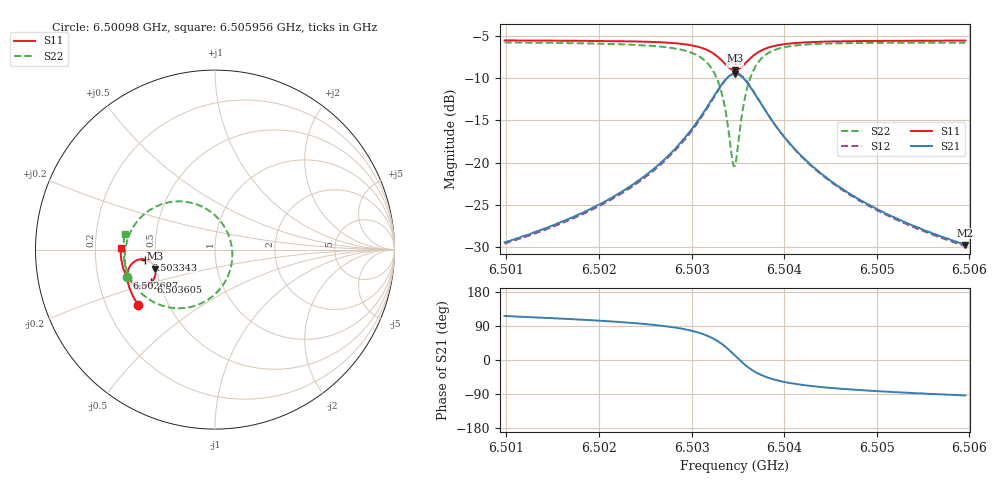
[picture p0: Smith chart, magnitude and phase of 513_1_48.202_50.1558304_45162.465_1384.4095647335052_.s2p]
#  HZ  S  RI  R  50.00
! Rohde & Schwarz Vector Network Analyzer
! Rohde-Schwarz,ZNB20-2Port,1311601062101988,3.16
! Created: UTC 3/20/2024, 11:59:03 AM
! freq[Hz]  re:S11  im:S11  re:S21  im:S21  re:S12  im:S12  re:S22  im:S22
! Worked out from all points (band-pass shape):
!   401 points, 6.50098 GHz to 6.505956 GHz, reference 50 ohm
!   highest |S21| = -9.50 dB at 6.503468 GHz (marker M1); lowest = -29.7 dB at 6.505956 GHz (marker M2)
!   |S21| within 3 dB of the highest: 6.50322 GHz to 6.503717 GHz (497.1 kHz wide, 0.00764 % of centre)
!   lowest |S11| = -9.1 dB at 6.503468 GHz (marker M3), VSWR 2.08, Z = 24.5 - j5.88 ohm
!   |S11| at or under -10 dB: nowhere
!   |S22| runs from -20.4 to -5.8 dB; largest |S21 - S12| = 0.011
!   S11 on the Smith chart (normalised r, x): 6.50098 GHz: 0.34, -0.29; 6.502697 GHz: 0.33, -0.14; 6.503343 GHz: 0.44, -0.06; 6.503605 GHz: 0.45, -0.19; 6.505956 GHz: 0.31, +0.01
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6.5009799e9  -0.4274 -0.3087  -0.0149 0.0304  -0.0132 0.0305  -0.4901 -0.1527
6.5018133e9  -0.4633 -0.2467  -0.0142 0.0483  -0.0118 0.0479  -0.503 -0.0638
6.5022611e9  -0.4789 -0.2068  -0.0113 0.0673  -0.00842 0.0661  -0.4999 -0.000115
6.5026468e9  -0.488 -0.164  -0.002 0.0976  0.00146 0.0955  -0.4799 0.0774
6.5026965e9  -0.4885 -0.1574  0.000453 0.1033  0.004 0.1008  -0.4744 0.0902
6.5029578e9  -0.4842 -0.1161  0.0268 0.1448  0.0303 0.1405  -0.4195 0.1731
6.5031443e9  -0.4624 -0.0778  0.0817 0.1873  0.084 0.1814  -0.3147 0.2461
6.5032563e9  -0.4292 -0.0569  0.1518 0.2049  0.1522 0.1993  -0.1886 0.2686
6.5033434e9  -0.3882 -0.0554  0.2325 0.1885  0.2326 0.1842  -0.0494 0.2275
6.5034305e9  -0.3455 -0.0837  0.3104 0.1154  0.3128 0.1115  0.0747 0.0832
6.5034553e9  -0.3375 -0.0979  0.3238 0.0837  0.3271 0.0794  0.092 0.0241
6.5034678e9  -0.3347 -0.1055  0.3282 0.0672  0.3318 0.0622  0.0959 -0.0069
6.5034927e9  -0.3316 -0.1215  0.3319 0.0329  0.3358 0.0266  0.094 -0.0695
6.50353e9  -0.3336 -0.1452  0.3247 -0.0169  0.3284 -0.0252  0.0676 -0.1575
6.5036046e9  -0.3555 -0.182  0.279 -0.0929  0.2793 -0.1038  -0.0406 -0.28
6.5037166e9  -0.4007 -0.2021  0.193 -0.138  0.1882 -0.1476  -0.2149 -0.3266
6.5038783e9  -0.4475 -0.1926  0.1099 -0.1345  0.1032 -0.1396  -0.3645 -0.2792
6.5040524e9  -0.4754 -0.1712  0.0646 -0.1142  0.0587 -0.1163  -0.4375 -0.213
6.5043012e9  -0.4964 -0.1412  0.0344 -0.089  0.0297 -0.0897  -0.4815 -0.1401
6.5046869e9  -0.5124 -0.1008  0.0147 -0.065  0.0115 -0.0646  -0.5044 -0.0628
6.5051347e9  -0.5216 -0.0593  0.00508 -0.0487  0.00286 -0.048  -0.5103 0.000801
6.5059557e9  -0.5264 0.0106  -0.00199 -0.0325  -0.00338 -0.0319  -0.5028 0.0883
